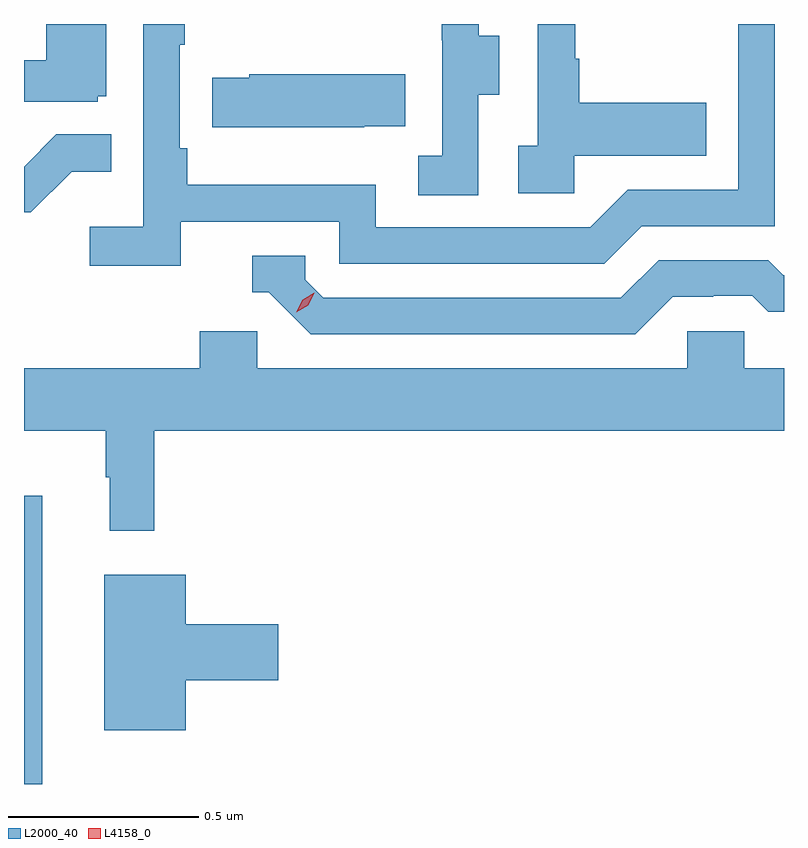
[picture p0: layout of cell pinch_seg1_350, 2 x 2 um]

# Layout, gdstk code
import gdstk
lib = gdstk.Library(unit=1e-6, precision=1e-09)
def R(c, l, rs):  # rectangles x0, y0, x1, y1
    for r in rs: c.add(gdstk.rectangle(r[:2], r[2:], *l))
def P(c, l, *ps):  # polygons
    for p in ps: c.add(gdstk.Polygon(p, *l))
L2000_40 = (2000, 40)
L4158_0 = (4158, 0)

pinch_seg1_350 = lib.new_cell('pinch_seg1_350')
R(pinch_seg1_350, L2000_40, [(969.592,548.138,969.64,548.896)])
P(pinch_seg1_350, L2000_40, [(970.004,549.618),(970.422,549.618),(970.422,549.507),(971.119,549.507),(971.218,549.606),(971.568,549.606),(971.568,550.138),(971.472,550.138),(971.472,549.702),(971.181,549.702),(971.082,549.603),(970.518,549.603),(970.518,549.715),(970.022,549.715),(970.022,549.811),(970.002,549.811),(970.002,550.084),(970.015,550.084),(970.015,550.138),(969.906,550.138),(969.906,549.604),(969.765,549.604),(969.765,549.502),(970.004,549.502)],
  [(970.788,549.952),(970.843,549.952),(970.843,550.107),(970.789,550.107),(970.789,550.138),(970.691,550.138),(970.691,550.095),(970.692,550.095),(970.692,549.791),(970.629,549.791),(970.629,549.688),(970.788,549.688)],
  [(971.04,549.791),(971.387,549.791),(971.387,549.931),(971.053,549.931),(971.053,550.046),(971.043,550.046),(971.043,550.138),(970.944,550.138),(970.944,549.818),(970.893,549.818),(970.893,549.693),(971.04,549.693)],
  [(969.786,549.948),(969.808,549.948),(969.808,550.138),(969.65,550.138),(969.65,550.042),(969.592,550.042),(969.592,549.933),(969.786,549.933)],
  [(970.487,549.869),(970.595,549.869),(970.595,550.006),(970.185,550.006),(970.185,549.996),(970.087,549.996),(970.087,549.866),(970.487,549.866)],
  [(969.717,549.749),(969.821,549.749),(969.821,549.848),(969.677,549.848),(969.592,549.763),(969.592,549.642),(969.61,549.642)],
  [(971.299,549.42),(971.406,549.42),(971.406,549.423),(971.509,549.423),(971.551,549.381),(971.592,549.381),(971.592,549.477),(971.59,549.477),(971.551,549.516),(971.262,549.516),(971.163,549.417),(970.38,549.417),(970.332,549.465),(970.332,549.528),(970.193,549.528),(970.193,549.432),(970.236,549.432),(970.347,549.321),(971.2,549.321)],
  [(969.935,549.068),(971.592,549.068),(971.592,549.232),(971.487,549.232),(971.487,549.33),(971.337,549.33),(971.337,549.232),(970.206,549.232),(970.206,549.33),(970.055,549.33),(970.055,549.232),(969.592,549.232),(969.592,549.068),(969.807,549.068),(969.807,548.945),(969.818,548.945),(969.818,548.805),(969.935,548.805)],
  [(970.018,548.411),(970.261,548.411),(970.261,548.558),(970.018,548.558),(970.018,548.689),(969.803,548.689),(969.803,548.279),(970.018,548.279)])
P(pinch_seg1_350, L4158_0, [(970.309,549.379),(970.309,549.379),(970.325,549.412),(970.356,549.431),(970.356,549.431),(970.356,549.43),(970.34,549.398),(970.309,549.379)])

lib.write_gds('pinch_seg1_350.gds')
